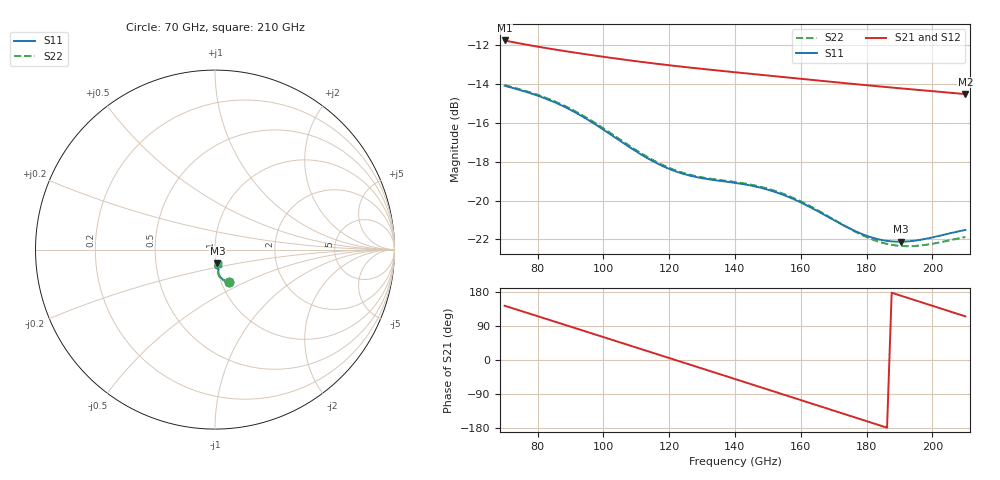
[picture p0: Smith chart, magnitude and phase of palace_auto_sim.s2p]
#  GHZ S DB R 50
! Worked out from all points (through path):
!   101 points, 70 GHz to 210 GHz, reference 50 ohm
!   highest |S21| = -11.77 dB at 70 GHz (marker M1); lowest = -14.5 dB at 210 GHz (marker M2)
!   group delay of S21, straight-line fit = 7.7 ps
!   lowest |S11| = -22.1 dB at 190.4 GHz (marker M3), VSWR 1.17, Z = 50.7 - j7.88 ohm
!   |S11| at or under -10 dB: start of sweep to end of sweep
!   |S22| runs from -22.3 to -14.1 dB; largest |S21 - S12| = 4.2e-14
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70  -14.10 -66.1  -11.77 143.2  -11.77 143.2  -14.07 -66.4
77  -14.44 -68.8  -12.00 124.0  -12.00 124.0  -14.40 -69.1
82.6  -14.77 -71.5  -12.16 108.6  -12.16 108.6  -14.72 -71.9
88.2  -15.18 -74.4  -12.31 93.1  -12.31 93.1  -15.13 -74.9
93.8  -15.69 -77.2  -12.46 77.6  -12.46 77.6  -15.64 -77.7
99.4  -16.29 -79.4  -12.59 62.2  -12.59 62.2  -16.22 -80.0
106.4  -17.08 -81.1  -12.76 42.8  -12.76 42.8  -17.01 -81.9
112  -17.69 -81.5  -12.88 27.3  -12.88 27.3  -17.62 -82.4
117.6  -18.20 -81.2  -13.00 11.9  -13.00 11.9  -18.14 -82.1
123.2  -18.57 -80.5  -13.11 -3.6  -13.11 -3.6  -18.52 -81.5
128.8  -18.81 -80.0  -13.21 -19.1  -13.21 -19.1  -18.77 -81.0
140  -19.09 -80.7  -13.40 -50.2  -13.40 -50.2  -19.05 -81.8
147  -19.31 -82.5  -13.52 -69.6  -13.52 -69.6  -19.26 -83.6
152.6  -19.58 -84.2  -13.62 -85.2  -13.62 -85.2  -19.53 -85.5
158.2  -19.96 -85.8  -13.71 -100.8  -13.71 -100.8  -19.90 -87.2
163.8  -20.43 -86.8  -13.80 -116.4  -13.80 -116.4  -20.38 -88.5
176.4  -21.56 -85.9  -14.01 -151.4  -14.01 -151.4  -21.59 -88.1
182  -21.92 -83.9  -14.10 -167.0  -14.10 -167.0  -22.02 -86.2
187.6  -22.10 -81.4  -14.19 177.5  -14.19 177.5  -22.28 -83.8
190.4  -22.12 -80.3  -14.23 169.7  -14.23 169.7  -22.34 -82.5
200.2  -21.89 -77.6  -14.38 142.4  -14.38 142.4  -22.22 -79.1
210  -21.51 -77.7  -14.53 115.1  -14.53 115.1  -21.88 -78.3
